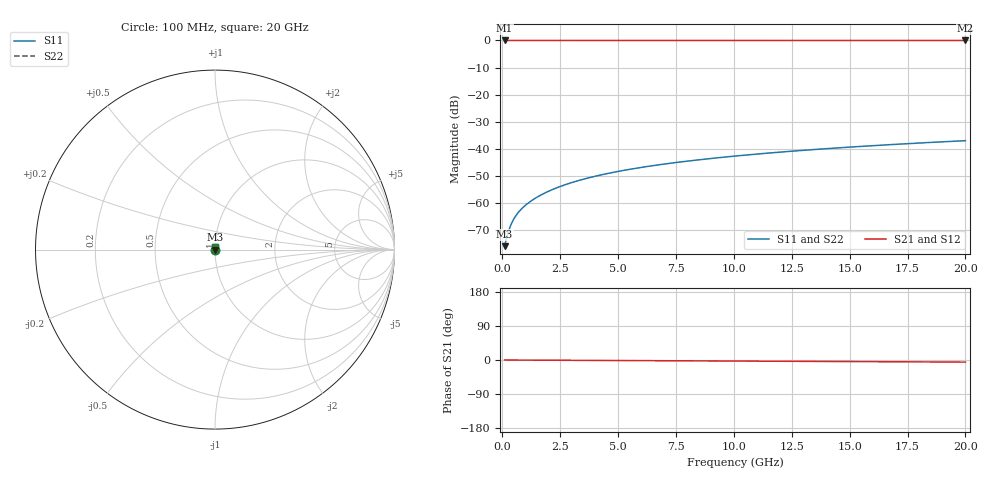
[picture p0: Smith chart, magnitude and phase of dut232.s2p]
! Touchstone file exported from HFSS 2026.1.0
!  File:  C:/ffzhzh/LocalFiles/Ansys_Project_Files/temp_train_TSV_232_1782992415_45328.aedt
!  Generated:  07:41:44 PM Jul  2, 2026
!  Design:  TSV
!  Project:  temp_train_TSV_232_1782992415_45328
! Variables:
!  h_bsmrdl = 2um
!  h_ox = 20um
!  h_rdl = 5um
!  h_sub = 51.46um
!  h_tmrdl = 5um
!  h_tsv = 51.46um
!  h_via = 3um
!  l_bsmrdl = 300um
!  l_sub = 416.36um
!  l_tmrdl = 200um
!  m_sub = 200um
!  pitch = 38.68um
!  r_tsv = 8.18um
!  s_tmrdl = 10um
!  w_bsmrdl = 18um
!  w_sub = 500um
!  w_tmrdl = 12um
!  x_tsv_center1 = 206um
!  x_tsv_center2 = 524um
!  x_tsv_center3 = 736um
!  x_tsv_center4 = 1054um
!  x_tsv_center5 = 1266um
!  x_tsv_center6 = 1584um
# GHz S MA R 50.000000
! Terminal data exported
! Port[1] = TSV1_1_T1
! Port[2] = TSV1_1_T2
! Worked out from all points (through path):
!   200 points, 100 MHz to 20 GHz, reference 50 ohm
!   highest |S21| = 0.00 dB at 100 MHz (marker M1); lowest = 0.0 dB at 20 GHz (marker M2)
!   lowest |S11| = -75.8 dB at 100 MHz (marker M3), VSWR 1.00, Z = 50 + j0.0104 ohm
!   |S11| at or under -10 dB: start of sweep to end of sweep
!   |S22| runs from -75.8 to -36.9 dB; largest |S21 - S12| = 3.7e-15
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0.1  0.0001621 39.7  0.9999 -0.0  0.9999 -0.0  0.0001621 39.7
! Gamma 0 0 0 0
! Port Impedance 50 0 50 0
0.2  0.0002448 56.8  0.9999 -0.1  0.9999 -0.1  0.0002448 56.8
0.3  0.0003364 63.9  0.9999 -0.1  0.9999 -0.1  0.0003364 63.9
0.4  0.0004279 67.4  0.9998 -0.1  0.9998 -0.1  0.0004279 67.4
0.5  0.0005166 69.3  0.9998 -0.1  0.9998 -0.1  0.0005166 69.3
0.6  0.000602 70.6  0.9998 -0.2  0.9998 -0.2  0.000602 70.6
0.7  0.0006845 71.5  0.9998 -0.2  0.9998 -0.2  0.0006845 71.5
0.8  0.0007646 72.3  0.9998 -0.2  0.9998 -0.2  0.0007646 72.3
1  0.0009199 73.6  0.9997 -0.3  0.9997 -0.3  0.0009199 73.6
1.4  0.001221 75.6  0.9997 -0.4  0.9997 -0.4  0.001221 75.6
1.7  0.001444 76.8  0.9997 -0.5  0.9997 -0.5  0.001444 76.8
2  0.001667 77.7  0.9997 -0.6  0.9997 -0.6  0.001667 77.7
2.7  0.002187 79.2  0.9996 -0.8  0.9996 -0.8  0.002187 79.2
3.5  0.002777 80.1  0.9996 -1.0  0.9996 -1.0  0.002777 80.1
4.2  0.003287 80.6  0.9995 -1.2  0.9995 -1.2  0.003287 80.6
5  0.003865 80.9  0.9995 -1.4  0.9995 -1.4  0.003865 80.9
6.8  0.005145 81.3  0.9994 -1.9  0.9994 -1.9  0.005145 81.3
8.3  0.006197 81.5  0.9993 -2.3  0.9993 -2.3  0.006197 81.5
10.1  0.007451 81.5  0.9992 -2.8  0.9992 -2.8  0.007451 81.5
13.4  0.009735 81.3  0.9991 -3.7  0.9991 -3.7  0.009734 81.3
16.7  0.012 80.9  0.999 -4.6  0.999 -4.6  0.012 80.9
20  0.01424 80.3  0.9989 -5.5  0.9989 -5.5  0.01424 80.3
